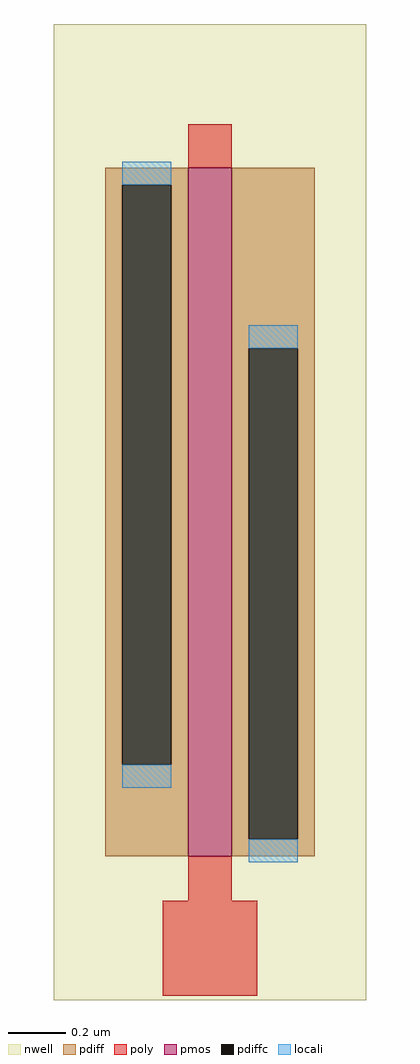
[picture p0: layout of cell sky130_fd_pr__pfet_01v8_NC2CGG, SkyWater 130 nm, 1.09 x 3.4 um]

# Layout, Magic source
magic
tech sky130A
magscale 1 2
<< nwell >>
rect -109 -340 109 340
<< pmos >>
rect -15 -240 15 240
<< pdiff >>
rect -73 228 -15 240
rect -73 -176 -61 228
rect -27 -176 -15 228
rect -73 -240 -15 -176
rect 15 114 73 240
rect 15 -228 27 114
rect 61 -228 73 114
rect 15 -240 73 -228
<< pdiffc >>
rect -61 -176 -27 228
rect 27 -228 61 114
<< poly >>
rect -15 240 15 270
rect -15 -271 15 -240
rect -33 -337 33 -271
<< locali >>
rect -61 228 -27 244
rect -61 -192 -27 -176
rect 27 114 61 130
rect 27 -244 61 -228
<< properties >>
string gencell sky130_fd_pr__pfet_01v8
string library sky130
string parameters w 2.4 l 0.15 m 1 nf 1 diffcov 100 polycov 100 guard 0 glc 0 grc 0 gtc 0 gbc 0 tbcov 100 rlcov 100 topc 1 botc 1 poverlap 0 doverlap 1 lmin 0.15 wmin 0.42 compatible {sky130_fd_pr__pfet_01v8  sky130_fd_pr__pfet_01v8_lvt sky130_fd_pr__pfet_01v8_hvt  sky130_fd_pr__pfet_g5v0d10v5} full_metal 0 viasrc 40 viadrn 40 viagate 100 viagb 0 viagr 0 viagl 0 viagt 80
<< end >>
